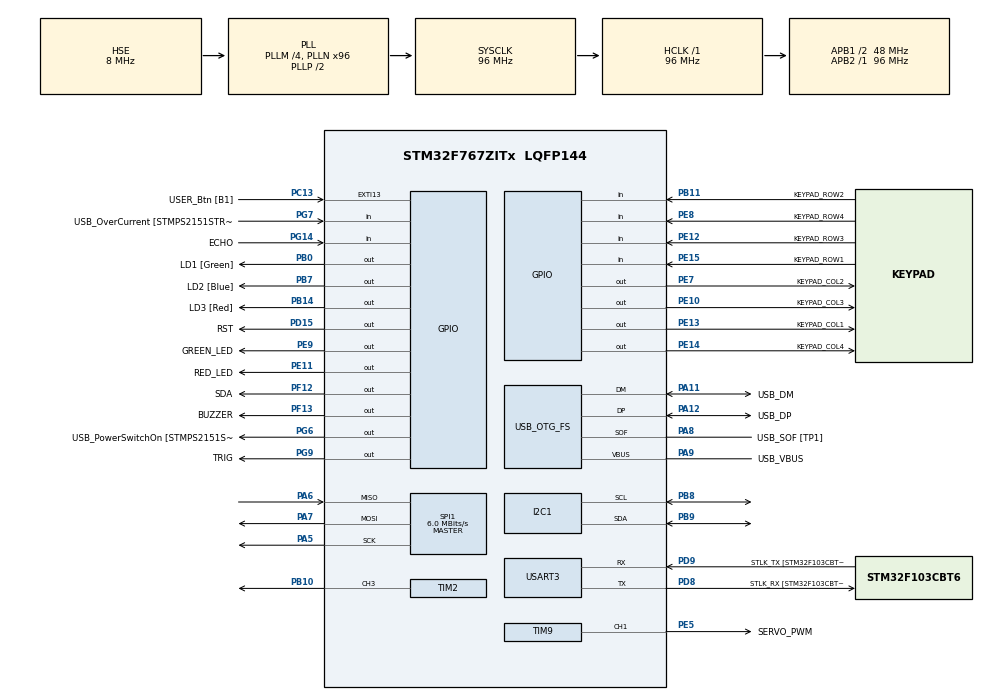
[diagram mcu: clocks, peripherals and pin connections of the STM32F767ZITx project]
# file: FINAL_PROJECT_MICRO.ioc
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I2C1.Timing=0x20303E5D
Mcu.Family=STM32F7
Mcu.Name=STM32F767ZITx
Mcu.Package=LQFP144
NVIC.PriorityGroup=NVIC_PRIORITYGROUP_4
NVIC.USART3_IRQn=true\:0\:0\:false\:false\:true\:true\:true\:true
PA1.GPIO_Label=RMII_REF_CLK [LAN8742A-CZ-TR_REFCLK0]
PA1.Signal=ETH_REF_CLK
PA10.GPIO_Label=USB_ID
PA10.Signal=USB_OTG_FS_ID
PA11.GPIO_Label=USB_DM
PA11.Mode=Device_Only
PA11.Signal=USB_OTG_FS_DM
PA12.GPIO_Label=USB_DP
PA12.Mode=Device_Only
PA12.Signal=USB_OTG_FS_DP
PA13.GPIO_Label=TMS
PA13.Mode=Serial_Wire
PA13.Signal=SYS_JTMS-SWDIO
PA14.GPIO_Label=TCK
PA14.Mode=Serial_Wire
PA14.Signal=SYS_JTCK-SWCLK
PA2.GPIO_Label=RMII_MDIO [LAN8742A-CZ-TR_MDIO]
PA2.Signal=ETH_MDIO
PA5.Mode=Full_Duplex_Master
PA5.Signal=SPI1_SCK
PA6.Mode=Full_Duplex_Master
PA6.Signal=SPI1_MISO
PA7.Mode=Full_Duplex_Master
PA7.Signal=SPI1_MOSI
PA8.GPIO_Label=USB_SOF [TP1]
PA8.Mode=Activate_SOF_FS
PA8.Signal=USB_OTG_FS_SOF
PA9.GPIO_Label=USB_VBUS
PA9.Mode=Activate_VBUS
PA9.Signal=USB_OTG_FS_VBUS
PB0.GPIO_Label=LD1 [Green]
PB0.Signal=GPIO_Output
PB10.Signal=S_TIM2_CH3
PB11.GPIO_Label=KEYPAD_ROW2
PB11.GPIO_PuPd=GPIO_PULLUP
PB11.Signal=GPIO_Input
PB13.GPIO_Label=RMII_TXD1 [LAN8742A-CZ-TR_TXD1]
PB13.Signal=ETH_TXD1
PB14.GPIO_Label=LD3 [Red]
PB14.Signal=GPIO_Output
PB3.GPIO_Label=SWO
PB3.Signal=SYS_JTDO-SWO
PB7.GPIO_Label=LD2 [Blue]
PB7.Signal=GPIO_Output
PB8.Mode=I2C
PB8.Signal=I2C1_SCL
PB9.Mode=I2C
PB9.Signal=I2C1_SDA
PC1.GPIO_Label=RMII_MDC [LAN8742A-CZ-TR_MDC]
PC1.Signal=ETH_MDC
PC13.GPIO_Label=USER_Btn [B1]
PC13.Signal=GPXTI13
PC14/OSC32_IN.Mode=LSE-External-Oscillator
PC14/OSC32_IN.Signal=RCC_OSC32_IN
PC15/OSC32_OUT.Mode=LSE-External-Oscillator
PC15/OSC32_OUT.Signal=RCC_OSC32_OUT
PC4.GPIO_Label=RMII_RXD0 [LAN8742A-CZ-TR_RXD0]
PC4.Signal=ETH_RXD0
PC5.GPIO_Label=RMII_RXD1 [LAN8742A-CZ-TR_RXD1]
PC5.Signal=ETH_RXD1
PD15.GPIO_Label=RST
PD15.Signal=GPIO_Output
PD8.GPIO_Label=STLK_RX [STM32F103CBT6_PA3]
PD8.Mode=Asynchronous
PD8.Signal=USART3_TX
PD9.GPIO_Label=STLK_TX [STM32F103CBT6_PA2]
PD9.Mode=Asynchronous
PD9.Signal=USART3_RX
PE10.GPIO_Label=KEYPAD_COL3
PE10.Signal=GPIO_Output
PE11.GPIO_Label=RED_LED
PE11.Signal=GPIO_Output
PE12.GPIO_Label=KEYPAD_ROW3
PE12.GPIO_PuPd=GPIO_PULLUP
PE12.Signal=GPIO_Input
PE13.GPIO_Label=KEYPAD_COL1
PE13.Signal=GPIO_Output
PE14.GPIO_Label=KEYPAD_COL4
PE14.Signal=GPIO_Output
PE15.GPIO_Label=KEYPAD_ROW1
PE15.GPIO_PuPd=GPIO_PULLUP
PE15.Signal=GPIO_Input
PE5.GPIO_Label=SERVO_PWM
PE5.Signal=S_TIM9_CH1
PE7.GPIO_Label=KEYPAD_COL2
PE7.Signal=GPIO_Output
PE8.GPIO_Label=KEYPAD_ROW4
PE8.GPIO_PuPd=GPIO_PULLUP
PE8.Signal=GPIO_Input
PE9.GPIO_Label=GREEN_LED
PE9.Signal=GPIO_Output
PF12.GPIO_Label=SDA
PF12.Signal=GPIO_Output
PF13.GPIO_Label=BUZZER
PF13.Signal=GPIO_Output
PG11.GPIO_Label=RMII_TX_EN [LAN8742A-CZ-TR_TXEN]
PG11.Signal=ETH_TX_EN
PG13.GPIO_Label=RMII_TXD0 [LAN8742A-CZ-TR_TXD0]
PG13.Signal=ETH_TXD0
PG14.GPIO_Label=ECHO
PG14.Signal=GPIO_Input
PG6.GPIO_Label=USB_PowerSwitchOn [STMPS2151STR_EN]
PG6.Signal=GPIO_Output
PG7.GPIO_Label=USB_OverCurrent [STMPS2151STR_FAULT]
PG7.Signal=GPIO_Input
PG9.GPIO_Label=TRIG
PG9.Signal=GPIO_Output
PH0/OSC_IN.GPIO_Label=MCO [STM32F103CBT6_PA8]
PH0/OSC_IN.Mode=HSE-External-Clock-Source
PH0/OSC_IN.Signal=RCC_OSC_IN
PH1/OSC_OUT.Mode=HSE-External-Clock-Source
PH1/OSC_OUT.Signal=RCC_OSC_OUT
ProjectManager.HeapSize=0x200
ProjectManager.StackSize=0x400
ProjectManager.TargetToolchain=STM32CubeIDE
RCC.48MHZClocksFreq_Value=24000000
RCC.AHBFreq_Value=96000000
RCC.APB1CLKDivider=RCC_HCLK_DIV2
RCC.APB1Freq_Value=48000000
RCC.APB1TimFreq_Value=96000000
RCC.APB2Freq_Value=96000000
RCC.APB2TimFreq_Value=96000000
RCC.CortexFreq_Value=96000000
RCC.HCLKFreq_Value=96000000
RCC.HSE_VALUE=8000000
RCC.HSI_VALUE=16000000
RCC.PLLM=4
RCC.PLLMUL=RCC_PLL_MUL9
RCC.PLLN=96
RCC.PLLQ=4
RCC.PRESCALERUSB=RCC_USBCLKSOURCE_PLL_DIV1_5
RCC.SYSCLKFreq_VALUE=96000000
RCC.SYSCLKSource=RCC_SYSCLKSOURCE_PLLCLK
RCC.SYSCLKSourceVirtual=RCC_SYSCLKSOURCE_PLLCLK
RCC.USBFreq_Value=48000000
RCC.VCOOutputFreq_Value=192000000
SH.S_TIM2_CH3.0=TIM2_CH3,PWM Generation3 CH3
SH.S_TIM9_CH1.0=TIM9_CH1,PWM Generation1 CH1
SPI1.BaudRatePrescaler=SPI_BAUDRATEPRESCALER_16
SPI1.CalculateBaudRate=6.0 MBits/s
SPI1.DataSize=SPI_DATASIZE_8BIT
SPI1.Direction=SPI_DIRECTION_2LINES
SPI1.Mode=SPI_MODE_MASTER
SPI1.VirtualType=VM_MASTER
TIM1.Prescaler=95
TIM2.Channel-PWM\ Generation3\ CH3=TIM_CHANNEL_3
TIM2.Period=19999
TIM2.Prescaler=95
TIM2.Pulse-PWM\ Generation3\ CH3=13
TIM9.Channel-PWM\ Generation1\ CH1=TIM_CHANNEL_1
TIM9.Period=20000-1
TIM9.Prescaler=95
TIM9.Pulse-PWM\ Generation1\ CH1=10000
USART3.VirtualMode-Asynchronous=VM_ASYNC
USB_OTG_FS.VirtualMode=Device_Only
VP_TIM1_VS_ClockSourceINT.Mode=Internal
VP_TIM9_VS_ClockSourceINT.Mode=Internal
board=NUCLEO-F767ZI

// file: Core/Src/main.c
/* USER CODE BEGIN Header */
/**
  ******************************************************************************
  * @file           : main.c
  * @brief          : Main program body
  ******************************************************************************
  * @attention
  *
  * Copyright (c) 2025 STMicroelectronics.
  * All rights reserved.
  *
  * This software is licensed under terms that can be found in the LICENSE file
  * in the root directory of this software component.
  * If no LICENSE file comes with this software, it is provided AS-IS.
  ******************************************************************************
  */
/* USER CODE END Header */
#include "main.h"
#include "i2c.h"
#include "spi.h"
#include "tim.h"
#include "usart.h"
#include "usb_otg.h"
#include "gpio.h"

/* USER CODE BEGIN Includes */
#include "rc522.h"
#include "servo.h"
#define ADDRESS_LCD 0x27
#include "keypad.h"
/* USER CODE END Includes */

/* USER CODE BEGIN PV */
/**
  * @brief  1. Declares and initializes variables for controlling a servo motor,
  *  2. handling user input,
  *  3. tracking time,
  *  4. managing distance measurements,
  *  5.ensuring RFID validation in the system.
  * @param  None
  * @retval None
  */
SERVO_Handle_TypeDef hservo1 = {.PwmOut = PWM_INIT_HANDLE(&htim9, TIM_CHANNEL_1) };
uint8_t status;
uint8_t str[MAX_LEN];
uint8_t sNum[5];
GPIO_InitTypeDef GPIO_InitStructPrivate = {0};
uint32_t pMillis;
uint32_t Value1 = 0;
uint32_t Value2 = 0;
uint16_t Distance  = 0;  //< cm
uint32_t previousMillis = 0;
uint32_t currentMillis = 0;
char userInput[5] = {0}; //< Buffer for user input
uint8_t pinIndex = 0;    //< Tracks number of characters entered on keypad
uint8_t targetDistance = 0; //< Target distance input from user
uint8_t isRFIDValidated = 0; //< Flag to ensure RFID is validated first
/* USER CODE END PV */
void SystemClock_Config(void);

/* USER CODE BEGIN 0 */
/**
  * @brief LCD Initialization and Communication Functions.
  * @note This code provides basic functions to interface with an LCD over I2C.
  *       The functions include sending commands and data to the LCD,
  *       initializing the LCD, and printing a string to the display.
  * @details
  *       - lcd_send_cmd: Sends a command byte to the LCD.
  *       - lcd_send_data: Sends a data byte (character) to the LCD.
  *       - lcd_init: Initializes the LCD with specific settings for 4-bit mode.
  *       - lcd_send_string: Sends a null-terminated string to the LCD.
  *       These functions use the HAL I2C API to communicate with the LCD.
  * @note The LCD address is defined as ADDRESS_LCD and needs to match the
  *       LCD module's address in the circuit. The initialization sequence
  *       must be configured for the specific LCD being used.
  * @retval None
  */
/* USER CODE END 0 */
void lcd_send_cmd (char cmd)
{
	char data_u, data_l,ret1;
	uint8_t data_t[4];
	data_u = (cmd&0xf0);
	data_l = ((cmd<<4)&0xf0);
	data_t[0] = data_u|0x0C;
	data_t[1] = data_u|0x08;
	data_t[2] = data_l|0x0C;
	data_t[3] = data_l|0x08;
	ret1 = HAL_I2C_Master_Transmit (&hi2c1, (ADDRESS_LCD << 1) ,(uint8_t *) data_t, 4, 100);
}
void lcd_send_data (char data)
{
	char data_u, data_l;
	uint8_t data_t[4];
	data_u = (data&0xf0);
	data_l = ((data<<4)&0xf0);
	data_t[0] = data_u|0x0D;
	data_t[1] = data_u|0x09;
	data_t[2] = data_l|0x0D;
	data_t[3] = data_l|0x09;
	HAL_I2C_Master_Transmit (&hi2c1, (ADDRESS_LCD << 1),(uint8_t *) data_t, 4, 100);
}
void lcd_init (void)
{
	lcd_send_cmd (0x28);
	HAL_Delay(1);
	lcd_send_cmd (0x08);
	HAL_Delay(1);
	lcd_send_cmd (0x01);
	HAL_Delay(1);
	HAL_Delay(1);
	lcd_send_cmd (0x06);
	HAL_Delay(1);
	lcd_send_cmd (0x0C);
}
void lcd_send_string (char *str)
{
	while (*str) lcd_send_data (*str++);
}
/* USER CODE END 0 */
int main(void)
{

  /* MCU Configuration--------------------------------------------------------*/

  /* Reset of all peripherals, Initializes the Flash interface and the Systick. */
  HAL_Init();
  /* Configure the system clock */
  SystemClock_Config();
  /* Initialize all configured peripherals */
  MX_GPIO_Init();
  MX_USART3_UART_Init();
  MX_USB_OTG_FS_PCD_Init();
  MX_SPI1_Init();
  MX_TIM1_Init();
  MX_TIM2_Init();
  MX_I2C1_Init();
  MX_TIM9_Init();
  /* USER CODE BEGIN 2 */
  MFRC522_Init();
  HAL_TIM_Base_Start(&htim1);
  HAL_GPIO_WritePin(TRIG_GPIO_Port, TRIG_Pin,RESET);
  SERVO_Init(&hservo1);
  SERVO_WritePosition(&hservo1, 0.0f);
  char uart_buffer[100];
  char pressed;
  KEYPAD_Handle_TypeDef hkeypad = KEYPAD_4x4_INIT_HANDLE(KEYPAD);
  float servo_position = 0.0f;
  uint8_t direction = 1; //<1 for increasing angle, 0 for decreasing angle
//< Declare key array with space for 2 characters + null terminator
  char key[3] = {'\0', '\0', '\0'};  //<Initialize with null characters
  static uint8_t input_index = 0;
  uint8_t isValid = 0; // Flag for valid input

  /* USER CODE END 2 */
  /* Infinite loop */
  /* USER CODE BEGIN WHILE */
  /**
    * @brief  Main loop responsible for RFID chip scanning,
    *  user input handling to set a target distance, and controlling
    *  the Servo motor based on distance measured by an Ultra-sonic sensor.
    * @param:None
    * This loop continuously performs the following tasks:
    * - Initializes the LCD and prompts the user to scan an RFID chip.
    * - Requests the RFID chip and handles any anti-collision protocol.
    * - If the correct RFID chip is detected, prompts the user to input a target distance.
    * - Waits for the user to enter a two-digit target distance via a keypad.
    * - Displays the target distance on the LCD.
    * - Controls a Servo motor to move continuously based on the set distance,
    * adjusting its position in increments.
    * - Measures the distance using an Ultra-sonic sensor.
    * - Compares the measured distance to the target distance.
    * - If the measured distance matches the target distance,
    * stops the Servo, and displays a confirmation message on the LCD.
    * - Repeats this process indefinitely until terminated.
    * @note:   The RFID detection, user input handling, Servo control,
    * and Ultra-sonic distance measurement processes are executed
    * within nested infinite loops for continuous operation.
    * @retval: None
    */
  while (1) {
      lcd_init();
      lcd_send_cmd(0x80);  //< 0x80 is to display on first line
      lcd_send_string("Scan Chip!");
      HAL_GPIO_WritePin(RED_LED_GPIO_Port, RED_LED_Pin, SET);
      HAL_GPIO_WritePin(GREEN_LED_GPIO_Port, GREEN_LED_Pin, RESET);
      HAL_GPIO_WritePin(BUZZER_GPIO_Port, BUZZER_Pin, RESET);

      //< Request and anti-collision for RFID chip detection
      status = MFRC522_Request(PICC_REQIDL, str);  //< Request RFID
      status = MFRC522_Anticoll(str);  //< Anti-collision
      memcpy(sNum, str, 5);  //< Copy chip data
      sprintf(uart_buffer, "Chip Number: %02X %02X %02X %02X %02X\r\n", str[0], str[1], str[2], str[3], str[4]);
      HAL_UART_Transmit(&huart3, (uint8_t *)uart_buffer, strlen(uart_buffer), HAL_MAX_DELAY);

      //< Check for correct chip (replace with correct chip ID)
      if ((str[0] == 240) && (str[1] == 12) && (str[2] == 77) && (str[3] == 116) && (str[4] == 197)) {
    	  lcd_init();  //< Display prompt to enter position and clear the one before
    	  lcd_send_cmd(0x80);
    	  lcd_send_string("Enter Pos 03-17:");

    	  // Input validation loop for range 03-17

    	  while (!isValid) { // Loop until valid input is received
    	      input_index = 0;  //< Reset input index
    	      while (input_index < 2) {
    	          pressed = KEYPAD_GetKey(&hkeypad, 0);  //< Get user input
    	          if (pressed != '\0') {
    	              key[input_index] = pressed;  //< Store the pressed key
    	              input_index++;  //< Move to the next index for the second number
    	          }
    	      }
    	      key[input_index] = '\0';  // Null-terminate the string
    	      targetDistance = atoi(key);  // Convert input string to an integer for the distance

    	      if (targetDistance >= 3 && targetDistance <= 17) { // Check if input is valid
    	          isValid = 1; // Mark input as valid
    	      } else {
    	          lcd_init();
    	          lcd_send_cmd(0x80);
    	          lcd_send_string("Invalid! Retry:");  // Prompt for valid input
    	          HAL_Delay(1000);  // Allow time for user to see the message
    	      }
    	  }

    	  //< Display target distance on the LCD
    	  lcd_init();
    	  lcd_send_cmd(0x80);
    	  lcd_send_string("Target Distance: ");
    	  lcd_send_cmd(0xc0);
    	  lcd_send_string(key);  //< Display the target distance
    	  sprintf(uart_buffer, "Target Distance Set: %d cm\r\n", targetDistance);
    	  HAL_UART_Transmit(&huart3, (uint8_t *)uart_buffer, strlen(uart_buffer), HAL_MAX_DELAY);
    	  HAL_Delay(1000);  //< Delay to show target distance

    	  // Begin moving the servo and checking distance
    	  while (1) {  //< Infinite loop for continuous rotation
    	      if (direction) {
    	          servo_position += 5.0f;
    	          if (servo_position >= 135.0f) {
    	              servo_position = 135.0f;
    	              direction = 0;
    	          }
    	      } else {
    	          servo_position -= 5.0f;
    	          if (servo_position <= 45.0f) {
    	              servo_position = 45.0f;
    	              direction = 1;
    	          }
    	      }

    	      //< Move the servo to the current position
    	      SERVO_WritePosition(&hservo1, servo_position);
    	      HAL_Delay(100);  // Adjust delay for smoother movement

    	      //< Only read the distance when the servo has completed its rotation and stopped
    	      if (servo_position == 0.0f || servo_position == 180.0f || fabs(servo_position - roundf(servo_position / 5) * 5) < 0.01) {
    	          HAL_GPIO_WritePin(TRIG_GPIO_Port, TRIG_Pin, SET);
    	          __HAL_TIM_SET_COUNTER(&htim1, 0);
    	          while (__HAL_TIM_GET_COUNTER(&htim1) < 10);
    	          HAL_GPIO_WritePin(TRIG_GPIO_Port, TRIG_Pin, RESET);
    	          pMillis = HAL_GetTick();
    	          while (!(HAL_GPIO_ReadPin(ECHO_GPIO_Port, ECHO_Pin)) && pMillis + 10 > HAL_GetTick());
    	          Value1 = __HAL_TIM_GET_COUNTER(&htim1);
    	          pMillis = HAL_GetTick();
    	          while ((HAL_GPIO_ReadPin(ECHO_GPIO_Port, ECHO_Pin)) && pMillis + 50 > HAL_GetTick());
    	          Value2 = __HAL_TIM_GET_COUNTER(&htim1);
    	          Distance = (Value2 - Value1) * 0.034 / 2;
    	          HAL_Delay(50);  //< Input capture that will use
    	          sprintf(uart_buffer, "Current Distance: %d cm\r\n", Distance);
    	          HAL_UART_Transmit(&huart3, (uint8_t *)uart_buffer, strlen(uart_buffer), HAL_MAX_DELAY);

    	          //< Check if distance matches target
    	          if (Distance == targetDistance) {
    	              SERVO_WritePosition(&hservo1, servo_position);  //< Stop the servo when target distance is detected
    	              lcd_init();
    	              lcd_send_cmd(0x80);
    	              lcd_send_string("Detected");  //< Display "Detected" on LCD to alert
    	              HAL_GPIO_WritePin(GREEN_LED_GPIO_Port, GREEN_LED_Pin, SET);
    	              HAL_GPIO_WritePin(BUZZER_GPIO_Port, BUZZER_Pin, SET);
    	              HAL_GPIO_WritePin(RED_LED_GPIO_Port, RED_LED_Pin, RESET);
    	              sprintf(uart_buffer, "Detection Successful: %d cm matched\r\n", Distance);
    	              HAL_UART_Transmit(&huart3, (uint8_t *)uart_buffer, strlen(uart_buffer), HAL_MAX_DELAY);
    	              HAL_Delay(3000);
    	              break;  //< Exit the loop once the target distance is detected
    	          }
    	      }
    	  }     }
      HAL_UART_Transmit(&huart3, (uint8_t*)&Distance, 1, 10);
      HAL_Delay(100);  //< Adjust delay for smoother operation
  }
}

  /* USER CODE END 3 */
void SystemClock_Config(void)
{
  RCC_OscInitTypeDef RCC_OscInitStruct = {0};
  RCC_ClkInitTypeDef RCC_ClkInitStruct = {0};
  /** Configure LSE Drive Capability
  */
  HAL_PWR_EnableBkUpAccess();

  /** Configure the main internal regulator output voltage
  */
  __HAL_RCC_PWR_CLK_ENABLE();
  __HAL_PWR_VOLTAGESCALING_CONFIG(PWR_REGULATOR_VOLTAGE_SCALE3);

  /** Initializes the RCC Oscillators according to the specified parameters
  * in the RCC_OscInitTypeDef structure.
  */
  RCC_OscInitStruct.OscillatorType = RCC_OSCILLATORTYPE_HSE;
  RCC_OscInitStruct.HSEState = RCC_HSE_BYPASS;
  RCC_OscInitStruct.PLL.PLLState = RCC_PLL_ON;
  RCC_OscInitStruct.PLL.PLLSource = RCC_PLLSOURCE_HSE;
  RCC_OscInitStruct.PLL.PLLM = 4;
  RCC_OscInitStruct.PLL.PLLN = 96;
  RCC_OscInitStruct.PLL.PLLP = RCC_PLLP_DIV2;
  RCC_OscInitStruct.PLL.PLLQ = 4;
  RCC_OscInitStruct.PLL.PLLR = 2;
  if (HAL_RCC_OscConfig(&RCC_OscInitStruct) != HAL_OK)
  {
    Error_Handler();
  }
  /** Activate the Over-Drive mode
  */
  if (HAL_PWREx_EnableOverDrive() != HAL_OK)
  {
    Error_Handler();
  }
  /** Initializes the CPU, AHB and APB buses clocks
  */
  RCC_ClkInitStruct.ClockType = RCC_CLOCKTYPE_HCLK|RCC_CLOCKTYPE_SYSCLK
                              |RCC_CLOCKTYPE_PCLK1|RCC_CLOCKTYPE_PCLK2;
  RCC_ClkInitStruct.SYSCLKSource = RCC_SYSCLKSOURCE_PLLCLK;
  RCC_ClkInitStruct.AHBCLKDivider = RCC_SYSCLK_DIV1;
  RCC_ClkInitStruct.APB1CLKDivider = RCC_HCLK_DIV2;
  RCC_ClkInitStruct.APB2CLKDivider = RCC_HCLK_DIV1;

  if (HAL_RCC_ClockConfig(&RCC_ClkInitStruct, FLASH_LATENCY_3) != HAL_OK)
  {
    Error_Handler();
  }
}
void Error_Handler(void)
{
  __disable_irq();
  while (1)
  {
  }
}
